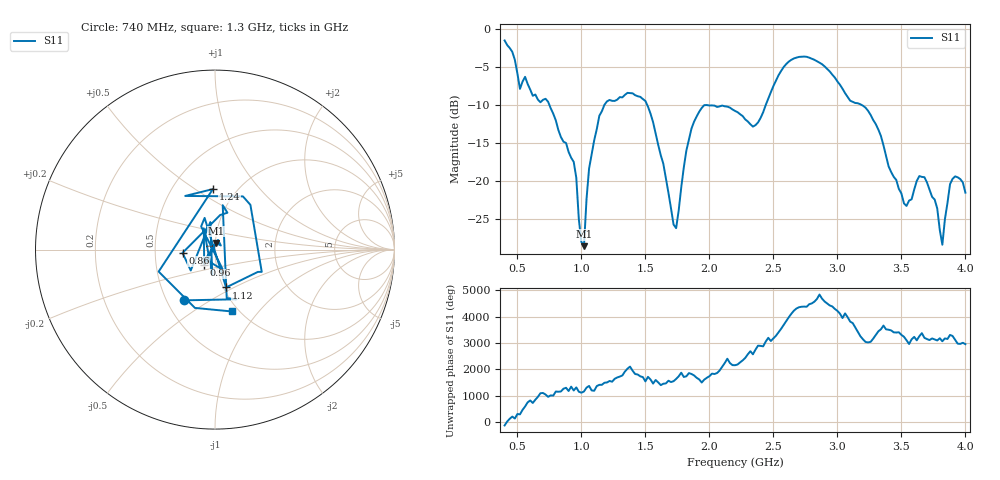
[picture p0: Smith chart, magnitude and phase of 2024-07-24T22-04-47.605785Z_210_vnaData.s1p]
!Created with skrf (http://scikit-rf.org).
# Hz S RI R 50.0
!freq ReS11 ImS11
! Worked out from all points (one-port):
!   181 points, 400 MHz to 4 GHz, reference 50 ohm
!   lowest |S11| = -28.5 dB at 1.02 GHz (marker M1), VSWR 1.08, Z = 50.4 + j3.74 ohm
!   |S11| at or under -10 dB: 1.515 GHz to 1.963 GHz (447.8 MHz wide, 25.8 % of centre); 1.984 GHz to 2.44 GHz (456.1 MHz wide, 20.6 % of centre); 3.191 GHz to end of sweep (the widest 3 of 4)
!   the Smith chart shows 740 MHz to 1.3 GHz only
!   S11 on the Smith chart (normalised r, x): 740 MHz: 0.61, -0.39; 860 MHz: 0.69, -0.03; 960 MHz: 0.87, -0.15; 1.12 GHz: 1.03, -0.46; 1.24 GHz: 0.78, +0.59; 1.3 GHz: 0.93, -0.73
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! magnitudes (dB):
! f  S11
! 400 MHz  -1.5
! 520 MHz  -7.9
! 740 MHz  -9.6
! 860 MHz  -14.8
! 960 MHz  -19.5
! 980 MHz  -25.0
! 1.02 GHz  -28.5
! 1.06 GHz  -18.3
! 1.12 GHz  -13.2
! 1.24 GHz  -9.4
! 1.3 GHz  -8.9
! 1.5 GHz  -9.5
! 1.64 GHz  -17.7
! 1.72 GHz  -25.7
! 1.76 GHz  -23.8
! 1.82 GHz  -16.0
! 1.92 GHz  -10.9
! 2.2 GHz  -10.8
! 2.36 GHz  -12.6
! 2.66 GHz  -3.9
! 3.1 GHz  -9.4
! 3.26 GHz  -11.3
! 3.56 GHz  -22.5
! 3.68 GHz  -19.5
! 3.78 GHz  -23.6
! 3.82 GHz  -28.3
! 3.88 GHz  -20.4
! 4 GHz  -21.5
